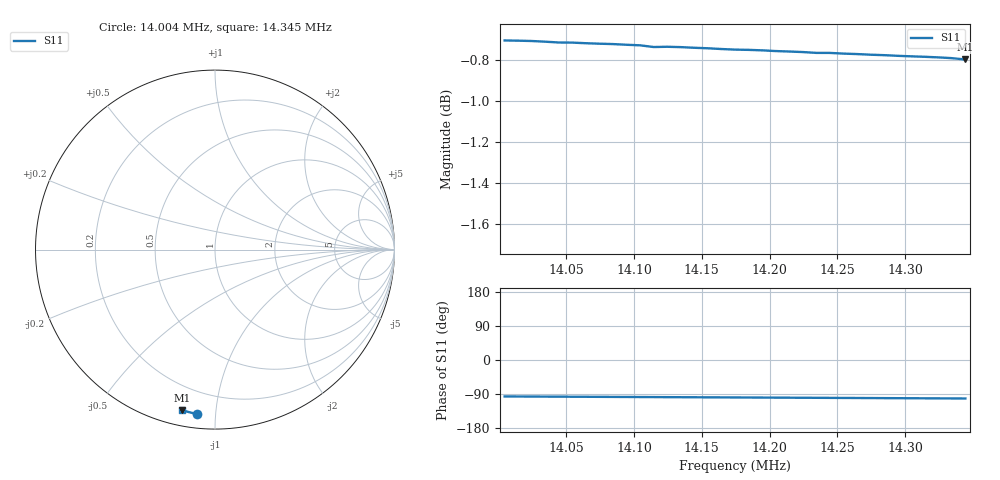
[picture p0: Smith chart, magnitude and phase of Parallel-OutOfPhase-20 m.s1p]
# HZ S RI R 50
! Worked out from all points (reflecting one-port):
!   35 points, 14.004 MHz to 14.345 MHz, reference 50 ohm
!   lowest |S11| = -0.8 dB at 14.345 MHz (marker M1), VSWR 21.79, Z = 3.82 - j40.7 ohm
!   phase of S11 starts at -96 deg and turns -5 deg over the sweep
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1.40044e7  -0.0989 -0.9167
1.402441e7  -0.1038 -0.9158
1.403441e7  -0.1061 -0.9152
1.404442e7  -0.1086 -0.9145
1.405442e7  -0.1111 -0.9142
1.406442e7  -0.1135 -0.9135
1.408443e7  -0.1184 -0.9125
1.409444e7  -0.1208 -0.9118
1.410444e7  -0.1232 -0.9112
1.411444e7  -0.1257 -0.91
1.412445e7  -0.1284 -0.9097
1.413445e7  -0.1308 -0.9092
1.414446e7  -0.1334 -0.9085
1.415446e7  -0.1358 -0.9079
1.416446e7  -0.1382 -0.9071
1.417447e7  -0.1408 -0.9064
1.419448e7  -0.1457 -0.9053
1.420448e7  -0.1482 -0.9045
1.422449e7  -0.1532 -0.9031
1.423449e7  -0.1557 -0.9023
1.42445e7  -0.1583 -0.9018
1.42545e7  -0.1607 -0.901
1.42645e7  -0.1632 -0.9003
1.429452e7  -0.1707 -0.898
1.430452e7  -0.1733 -0.8973
1.432453e7  -0.1783 -0.8957
1.433453e7  -0.1808 -0.8948
1.434454e7  -0.1831 -0.8937
